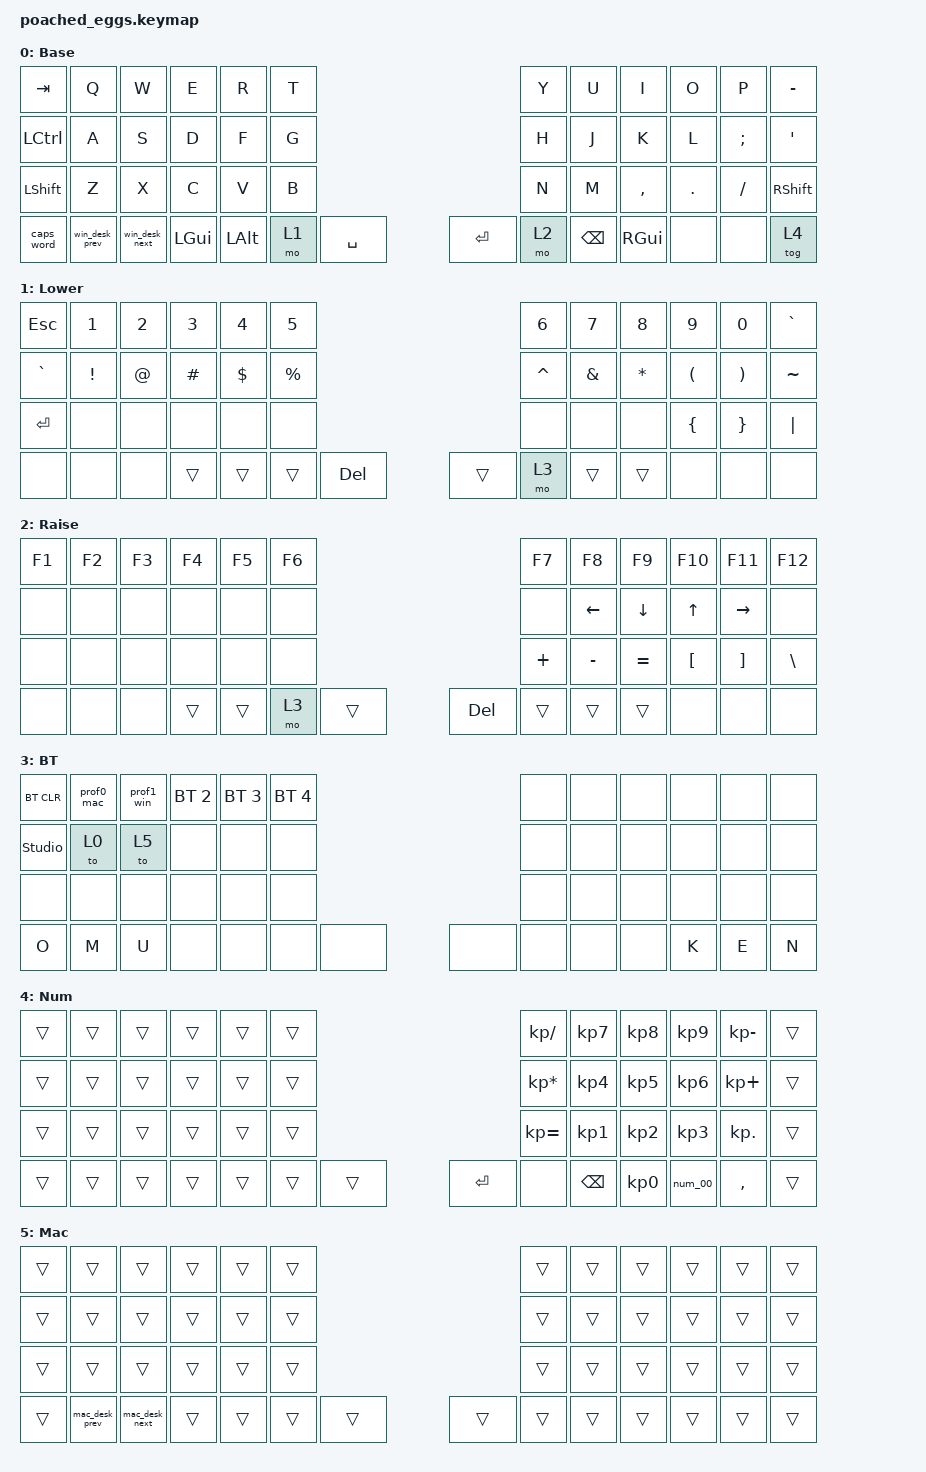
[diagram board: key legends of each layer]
#include <behaviors.dtsi>
#include <dt-bindings/zmk/bt.h>
#include <dt-bindings/zmk/keys.h>

/ {
    macros {
        // "00"（KP_N0 を 2 回送る）numpad 用マクロ
        num_00: num_00 {
            compatible = "zmk,behavior-macro";
            #binding-cells = <0>;
            bindings = <&kp KP_N0 &kp KP_N0>;
        };

        // BT プロファイル切替と OS モード（mac レイヤー）を連動させる。
        // 接続先を変える＝仮想デスクトップ切替キーの送出内容も切り替わる。
        prof0_mac: prof0_mac {
            compatible = "zmk,behavior-macro";
            #binding-cells = <0>;
            bindings = <&bt BT_SEL 0 &to 5>;
        };
        prof1_win: prof1_win {
            compatible = "zmk,behavior-macro";
            #binding-cells = <0>;
            bindings = <&bt BT_SEL 1 &to 0>;
        };

        // 仮想デスクトップ切替。&kp LC(LG(X)) 形式の implicit modifier は ZMK 内で
        // グローバルに 1 つの状態として持たれ、zmk_hid_implicit_modifiers_release()
        // が「どのキーが立てたか」を区別せず一括クリアする（hid_listener.c 参照）。
        // そのため他キーと重なると Ctrl だけ抜けた report が出て Win+←/→
        // （Aero Snap = ウィンドウが左右に寄る）になることがある。
        // macro で修飾キーを explicit modifier として押すと、このキーの押下に
        // 紐付いて refcount 管理されるため他キーの離しで落ちない。
        // pause_for_release で押しっぱなし中は保持し、長押しリピートも維持する。
        // 離す順は キー → 修飾キー（修飾が先に抜けた瞬間の誤爆を防ぐ）。
        win_desk_prev: win_desk_prev {
            compatible = "zmk,behavior-macro";
            #binding-cells = <0>;
            wait-ms = <5>;
            bindings
                = <&macro_press &kp LCTRL &kp LGUI &kp LEFT>
                , <&macro_pause_for_release>
                , <&macro_release &kp LEFT &kp LGUI &kp LCTRL>;
        };
        win_desk_next: win_desk_next {
            compatible = "zmk,behavior-macro";
            #binding-cells = <0>;
            wait-ms = <5>;
            bindings
                = <&macro_press &kp LCTRL &kp LGUI &kp RIGHT>
                , <&macro_pause_for_release>
                , <&macro_release &kp RIGHT &kp LGUI &kp LCTRL>;
        };
        mac_desk_prev: mac_desk_prev {
            compatible = "zmk,behavior-macro";
            #binding-cells = <0>;
            wait-ms = <5>;
            bindings
                = <&macro_press &kp LCTRL &kp LEFT>
                , <&macro_pause_for_release>
                , <&macro_release &kp LEFT &kp LCTRL>;
        };
        mac_desk_next: mac_desk_next {
            compatible = "zmk,behavior-macro";
            #binding-cells = <0>;
            wait-ms = <5>;
            bindings
                = <&macro_press &kp LCTRL &kp RIGHT>
                , <&macro_pause_for_release>
                , <&macro_release &kp RIGHT &kp LCTRL>;
        };

        // combo 用（一覧表示）。こちらも同じ理由で explicit modifier にする。
        // 取りこぼすと素の Tab が入力されてしまうため。押し切りで良いので tap。
        win_taskview: win_taskview {
            compatible = "zmk,behavior-macro";
            #binding-cells = <0>;
            wait-ms = <5>;
            bindings
                = <&macro_press &kp LGUI>
                , <&macro_tap &kp TAB>
                , <&macro_release &kp LGUI>;
        };
        mac_mission: mac_mission {
            compatible = "zmk,behavior-macro";
            #binding-cells = <0>;
            wait-ms = <5>;
            bindings
                = <&macro_press &kp LCTRL>
                , <&macro_tap &kp UP>
                , <&macro_release &kp LCTRL>;
        };
    };

    // base 最下段の左下ペア(index 37/38)同時押しでデスクトップ一覧を出す。
    // combo は 1 個につき出力が 1 つなので Win/Mac で別定義し、layers で排他にする。
    // ZMK は「最上位のアクティブレイヤー」1 つだけで combo の発火判定をするため
    // （combo.c: setup_candidates_for_first_keypress → zmk_keymap_highest_layer_active）
    // Mac モード(layer 5)では win 側は候補に入らず、二重発火しない。
    // win 側に 4 を含めるのは Num トグル中も Mac 側(5 > 4)と挙動を揃えるため。
    combos {
        compatible = "zmk,combos";

        combo_overview_win {
            timeout-ms = <50>;
            key-positions = <37 38>;
            bindings = <&win_taskview>;   // Windows タスクビュー
            layers = <0 4>;
        };
        combo_overview_mac {
            timeout-ms = <50>;
            key-positions = <37 38>;
            bindings = <&mac_mission>;    // macOS Mission Control
            layers = <5>;
        };
    };

    keymap {
        compatible = "zmk,keymap";

        default_layer {
            display-name = "Base";
            bindings = <
&kp TAB    &kp Q  &kp W  &kp E     &kp R     &kp T                      &kp Y  &kp U     &kp I      &kp O    &kp P     &kp MINUS
&kp LCTRL  &kp A  &kp S  &kp D     &kp F     &kp G                      &kp H  &kp J     &kp K      &kp L    &kp SEMI  &kp SQT
&kp LSHFT  &kp Z  &kp X  &kp C     &kp V     &kp B                      &kp N  &kp M     &kp COMMA  &kp DOT  &kp FSLH  &kp RSHFT
&caps_word &win_desk_prev    &win_desk_next     &kp LGUI  &kp LALT  &mo 1  &kp SPACE  &kp RET  &mo 2  &kp BSPC  &kp RGUI  &none  &none  &tog 4
            >;
        };

        lower_layer {
            display-name = "Lower";
            bindings = <
&kp ESC    &kp N1    &kp N2  &kp N3    &kp N4      &kp N5                      &kp N6     &kp N7    &kp N8     &kp N9          &kp N0           &kp GRAVE
&kp GRAVE  &kp EXCL  &kp AT  &kp HASH  &kp DOLLAR  &kp PRCNT                   &kp CARET  &kp AMPS  &kp ASTRK  &kp LPAR        &kp RPAR         &kp TILDE
&kp RET    &none     &none   &none     &none       &none                       &none      &none     &none      &kp LEFT_BRACE  &kp RIGHT_BRACE  &kp PIPE
&none      &none     &none   &trans    &trans      &trans     &kp DEL  &trans  &mo 3      &trans    &trans     &none           &none            &none
            >;
        };

        raise_layer {
            display-name = "Raise";
            bindings = <
&kp F1  &kp F2  &kp F3  &kp F4  &kp F5  &kp F6                   &kp F7    &kp F8     &kp F9     &kp F10   &kp F11    &kp F12
&none   &none   &none   &none   &none   &none                    &none     &kp LEFT   &kp DOWN   &kp UP    &kp RIGHT  &none
&none   &none   &none   &none   &none   &none                    &kp PLUS  &kp MINUS  &kp EQUAL  &kp LBKT  &kp RBKT   &kp BSLH
&none   &none   &none   &trans  &trans  &mo 3   &trans  &kp DEL  &trans    &trans     &trans     &none     &none      &none
            >;
        };

        bt_layer {
            display-name = "BT";
            bindings = <
&bt BT_CLR      &prof0_mac  &prof1_win  &bt BT_SEL 2  &bt BT_SEL 3  &bt BT_SEL 4                    &none  &none  &none  &none  &none  &none
&studio_unlock  &to 0       &to 5       &none         &none         &none                           &none  &none  &none  &none  &none  &none
&none           &none       &none       &none         &none         &none                           &none  &none  &none  &none  &none  &none
&kp O           &kp M       &kp U       &none         &none         &none             &none  &none  &none  &none  &none  &kp K  &kp E  &kp N
            >;
        };

        num_layer {
            display-name = "Num";
            bindings = <
&trans  &trans  &trans  &trans  &trans  &trans                       &kp KP_DIVIDE    &kp KP_N7  &kp KP_N8  &kp KP_N9  &kp KP_MINUS  &trans
&trans  &trans  &trans  &trans  &trans  &trans                       &kp KP_MULTIPLY  &kp KP_N4  &kp KP_N5  &kp KP_N6  &kp KP_PLUS   &trans
&trans  &trans  &trans  &trans  &trans  &trans                       &kp KP_EQUAL     &kp KP_N1  &kp KP_N2  &kp KP_N3  &kp KP_DOT    &trans
&trans  &trans  &trans  &trans  &trans  &trans  &trans  &kp RET  &none  &kp BSPC  &kp KP_N0  &num_00  &kp COMMA  &trans
            >;
        };

        // Mac モード。base の仮想デスクトップ切替キー(index 37/38)だけ上書きし、
        // 他は全て &trans なので Lower/Raise/Num は素通しで従来通り動く。
        // ★このレイヤーは必ず最後に置くこと（途中に挿すと &mo 1/2/3・&tog 4 がずれる）
        mac_layer {
            display-name = "Mac";
            bindings = <
&trans  &trans        &trans         &trans  &trans  &trans                  &trans  &trans  &trans  &trans  &trans  &trans
&trans  &trans        &trans         &trans  &trans  &trans                  &trans  &trans  &trans  &trans  &trans  &trans
&trans  &trans        &trans         &trans  &trans  &trans                  &trans  &trans  &trans  &trans  &trans  &trans
&trans  &mac_desk_prev &mac_desk_next  &trans  &trans  &trans  &trans  &trans  &trans  &trans  &trans  &trans  &trans  &trans
            >;
        };
    };
};
